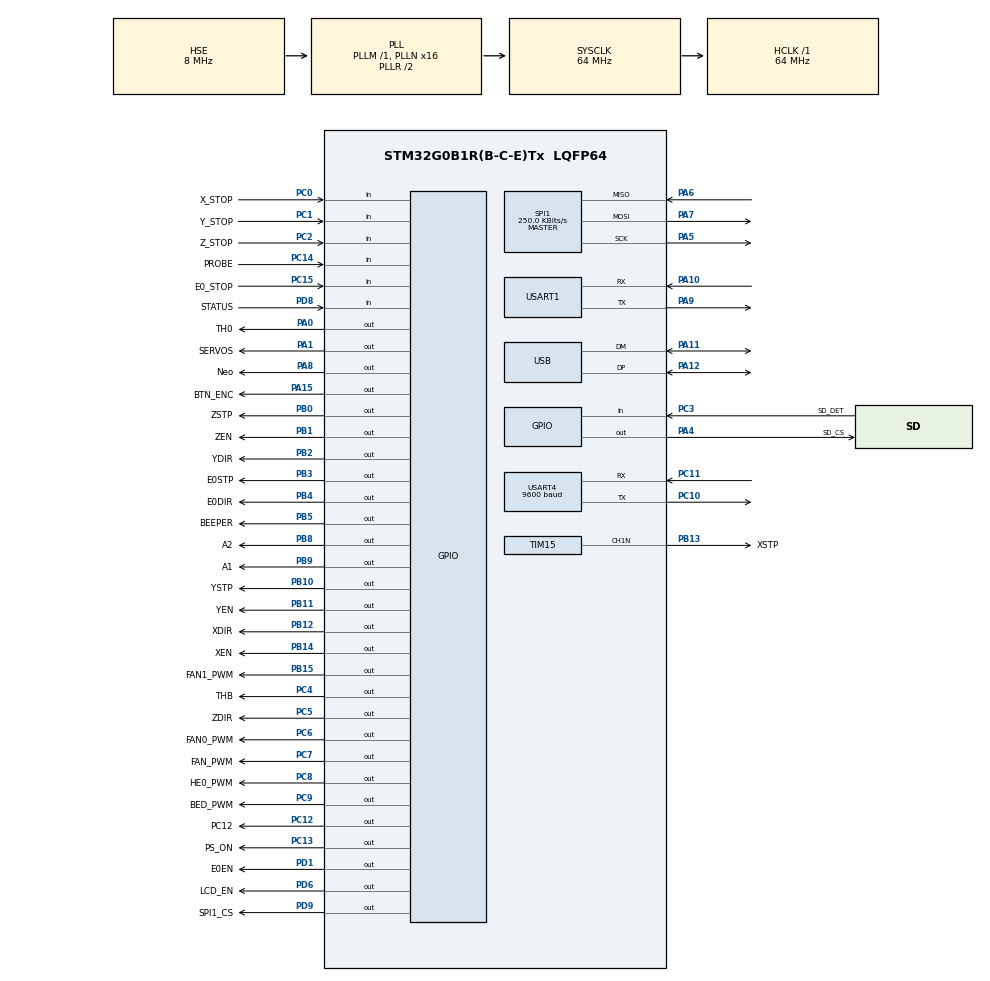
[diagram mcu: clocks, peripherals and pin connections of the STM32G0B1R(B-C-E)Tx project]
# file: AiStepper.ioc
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Dma.Request0=UCPD2_RX
Dma.Request1=UCPD2_TX
Dma.Request2=TIM15_CH1
Dma.TIM15_CH1.2.Direction=DMA_MEMORY_TO_PERIPH
Dma.TIM15_CH1.2.EventEnable=DISABLE
Dma.TIM15_CH1.2.Instance=DMA1_Channel1
Dma.TIM15_CH1.2.MemDataAlignment=DMA_MDATAALIGN_HALFWORD
Dma.TIM15_CH1.2.MemInc=DMA_MINC_ENABLE
Dma.TIM15_CH1.2.Mode=DMA_CIRCULAR
Dma.TIM15_CH1.2.PeriphDataAlignment=DMA_PDATAALIGN_HALFWORD
Dma.TIM15_CH1.2.PeriphInc=DMA_PINC_DISABLE
Dma.TIM15_CH1.2.Polarity=HAL_DMAMUX_REQ_GEN_RISING
Dma.TIM15_CH1.2.Priority=DMA_PRIORITY_LOW
Dma.TIM15_CH1.2.RequestNumber=1
Dma.TIM15_CH1.2.SignalID=NONE
Dma.TIM15_CH1.2.SyncEnable=DISABLE
Dma.TIM15_CH1.2.SyncPolarity=HAL_DMAMUX_SYNC_NO_EVENT
Dma.TIM15_CH1.2.SyncRequestNumber=1
Dma.TIM15_CH1.2.SyncSignalID=NONE
Dma.UCPD2_RX.0.Direction=DMA_PERIPH_TO_MEMORY
Dma.UCPD2_RX.0.EventEnable=DISABLE
Dma.UCPD2_RX.0.Instance=DMA1_Channel3
Dma.UCPD2_RX.0.MemDataAlignment=DMA_MDATAALIGN_BYTE
Dma.UCPD2_RX.0.MemInc=DMA_MINC_ENABLE
Dma.UCPD2_RX.0.Mode=DMA_NORMAL
Dma.UCPD2_RX.0.PeriphDataAlignment=DMA_PDATAALIGN_BYTE
Dma.UCPD2_RX.0.PeriphInc=DMA_PINC_DISABLE
Dma.UCPD2_RX.0.Polarity=HAL_DMAMUX_REQ_GEN_RISING
Dma.UCPD2_RX.0.Priority=DMA_PRIORITY_LOW
Dma.UCPD2_RX.0.RequestNumber=1
Dma.UCPD2_RX.0.SignalID=NONE
Dma.UCPD2_RX.0.SyncEnable=DISABLE
Dma.UCPD2_RX.0.SyncPolarity=HAL_DMAMUX_SYNC_NO_EVENT
Dma.UCPD2_RX.0.SyncRequestNumber=1
Dma.UCPD2_RX.0.SyncSignalID=NONE
Dma.UCPD2_TX.1.Direction=DMA_MEMORY_TO_PERIPH
Dma.UCPD2_TX.1.EventEnable=DISABLE
Dma.UCPD2_TX.1.Instance=DMA1_Channel4
Dma.UCPD2_TX.1.MemDataAlignment=DMA_MDATAALIGN_BYTE
Dma.UCPD2_TX.1.MemInc=DMA_MINC_ENABLE
Dma.UCPD2_TX.1.Mode=DMA_NORMAL
Dma.UCPD2_TX.1.PeriphDataAlignment=DMA_PDATAALIGN_BYTE
Dma.UCPD2_TX.1.PeriphInc=DMA_PINC_DISABLE
Dma.UCPD2_TX.1.Polarity=HAL_DMAMUX_REQ_GEN_RISING
Dma.UCPD2_TX.1.Priority=DMA_PRIORITY_LOW
Dma.UCPD2_TX.1.RequestNumber=1
Dma.UCPD2_TX.1.SignalID=NONE
Dma.UCPD2_TX.1.SyncEnable=DISABLE
Dma.UCPD2_TX.1.SyncPolarity=HAL_DMAMUX_SYNC_NO_EVENT
Dma.UCPD2_TX.1.SyncRequestNumber=1
Dma.UCPD2_TX.1.SyncSignalID=NONE
FATFS._FS_EXFAT=1
FATFS._MAX_SS=4096
FATFS._USE_LFN=1
Mcu.Family=STM32G0
Mcu.Name=STM32G0B1R(B-C-E)Tx
Mcu.Package=LQFP64
NVIC.DMA1_Ch4_7_DMA2_Ch1_5_DMAMUX1_OVR_IRQn=true\:0\:0\:false\:false\:true\:false\:true\:true
NVIC.DMA1_Channel1_IRQn=true\:0\:0\:false\:false\:true\:false\:true\:true
NVIC.DMA1_Channel2_3_IRQn=true\:0\:0\:false\:false\:true\:false\:true\:true
NVIC.TIM15_IRQn=true\:0\:0\:false\:false\:true\:true\:true\:true
NVIC.TIM7_LPTIM2_IRQn=true\:0\:0\:false\:false\:true\:true\:true\:true
NVIC.USART3_4_5_6_LPUART1_IRQn=true\:0\:0\:false\:false\:true\:true\:true\:true
NVIC.USB_UCPD1_2_IRQn=true\:0\:0\:false\:false\:true\:true\:true\:true
PA0.GPIO_Label=TH0
PA0.Signal=GPIO_Output
PA1.GPIO_Label=SERVOS
PA1.Signal=GPIO_Output
PA10.Mode=Asynchronous
PA10.Signal=USART1_RX
PA11\ [PA9].Mode=Device
PA11\ [PA9].Signal=USB_DM
PA12\ [PA10].Mode=Device
PA12\ [PA10].Signal=USB_DP
PA13.Mode=Serial_Wire
PA13.Signal=SYS_SWDIO
PA14-BOOT0.Mode=Serial_Wire
PA14-BOOT0.Signal=SYS_SWCLK
PA15.GPIO_Label=BTN_ENC
PA15.Signal=GPIO_Output
PA2.Signal=USART2_TX
PA3.Signal=USART2_RX
PA4.GPIO_Label=SD_CS
PA4.Signal=GPIO_Output
PA5.Mode=Full_Duplex_Master
PA5.Signal=SPI1_SCK
PA6.Mode=Full_Duplex_Master
PA6.Signal=SPI1_MISO
PA7.Mode=Full_Duplex_Master
PA7.Signal=SPI1_MOSI
PA8.GPIO_Label=Neo
PA8.Signal=GPIO_Output
PA9.Mode=Asynchronous
PA9.Signal=USART1_TX
PB0.GPIO_Label=ZSTP
PB0.Signal=GPIO_Output
PB1.GPIO_Label=ZEN
PB1.Signal=GPIO_Output
PB10.GPIO_Label=YSTP
PB10.Signal=GPIO_Output
PB11.GPIO_Label=YEN
PB11.Signal=GPIO_Output
PB12.GPIO_Label=XDIR
PB12.Signal=GPIO_Output
PB13.GPIO_Label=XSTP
PB13.Mode=PWM Generation1 CH1N
PB13.Signal=TIM15_CH1N
PB14.GPIO_Label=XEN
PB14.Signal=GPIO_Output
PB15.GPIO_Label=FAN1_PWM
PB15.Signal=GPIO_Output
PB2.GPIO_Label=YDIR
PB2.Signal=GPIO_Output
PB3.GPIO_Label=E0STP
PB3.Signal=GPIO_Output
PB4.GPIO_Label=E0DIR
PB4.Signal=GPIO_Output
PB5.GPIO_Label=BEEPER
PB5.Signal=GPIO_Output
PB6.Signal=I2C1_SCL
PB7.Signal=I2C1_SDA
PB8.GPIO_Label=A2
PB8.Signal=GPIO_Output
PB9.GPIO_Label=A1
PB9.Signal=GPIO_Output
PC0.GPIO_Label=X_STOP
PC0.Signal=GPIO_Input
PC1.GPIO_Label=Y_STOP
PC1.Signal=GPIO_Input
PC10.GPIO_ModeDefaultPP=GPIO_MODE_AF_PP
PC10.GPIO_PuPd=GPIO_NOPULL
PC10.GPIO_Speed=GPIO_SPEED_FREQ_LOW
PC10.Mode=Asynchronous
PC10.PinState=GPIO_PIN_RESET
PC10.Signal=USART4_TX
PC11.GPIO_ModeDefaultPP=GPIO_MODE_AF_PP
PC11.GPIO_PuPd=GPIO_NOPULL
PC11.GPIO_Speed=GPIO_SPEED_FREQ_LOW
PC11.Mode=Asynchronous
PC11.PinState=GPIO_PIN_RESET
PC11.Signal=USART4_RX
PC12.GPIO_Label=PC12
PC12.Signal=GPIO_Output
PC13.GPIO_Label=PS_ON
PC13.Signal=GPIO_Output
PC14-OSC32_IN\ (PC14).GPIO_Label=PROBE
PC14-OSC32_IN\ (PC14).Signal=GPIO_Input
PC15-OSC32_OUT\ (PC15).GPIO_Label=E0_STOP
PC15-OSC32_OUT\ (PC15).Signal=GPIO_Input
PC2.GPIO_Label=Z_STOP
PC2.Signal=GPIO_Input
PC3.GPIO_Label=SD_DET
PC3.Signal=GPIO_Input
PC4.GPIO_Label=THB
PC4.Signal=GPIO_Output
PC5.GPIO_Label=ZDIR
PC5.Signal=GPIO_Output
PC6.GPIO_Label=FAN0_PWM
PC6.Signal=GPIO_Output
PC7.GPIO_Label=FAN_PWM
PC7.Signal=GPIO_Output
PC8.GPIO_Label=HE0_PWM
PC8.Signal=GPIO_Output
PC9.GPIO_Label=BED_PWM
PC9.Signal=GPIO_Output
PD1.GPIO_Label=E0EN
PD1.Signal=GPIO_Output
PD6.GPIO_Label=LCD_EN
PD6.Signal=GPIO_Output
PD8.GPIO_Label=STATUS
PD8.Signal=GPIO_Input
PD9.GPIO_Label=SPI1_CS
PD9.Signal=GPIO_Output
PF0-OSC_IN\ (PF0).Mode=HSE-External-Oscillator
PF0-OSC_IN\ (PF0).Signal=RCC_OSC_IN
PF1-OSC_OUT\ (PF1).Mode=HSE-External-Oscillator
PF1-OSC_OUT\ (PF1).Signal=RCC_OSC_OUT
ProjectManager.HeapSize=0x200
ProjectManager.StackSize=0x400
ProjectManager.TargetToolchain=MDK-ARM V5.32
RCC.ADCFreq_Value=64000000
RCC.AHBFreq_Value=64000000
RCC.CortexFreq_Value=64000000
RCC.EXTERNAL_CLOCK_VALUE=48000
RCC.HCLKFreq_Value=64000000
RCC.HSE_VALUE=8000000
RCC.HSI48_VALUE=48000000
RCC.HSI_VALUE=16000000
RCC.LSE_VALUE=32768
RCC.PLLN=16
RCC.PLLSourceVirtual=RCC_PLLSOURCE_HSE
RCC.SYSCLKFreq_VALUE=64000000
RCC.SYSCLKSource=RCC_SYSCLKSOURCE_PLLCLK
RCC.USBFreq_Value=48000000
RCC.VCOOutputFreq_Value=128000000
SPI1.BaudRatePrescaler=SPI_BAUDRATEPRESCALER_256
SPI1.CalculateBaudRate=250.0 KBits/s
SPI1.Direction=SPI_DIRECTION_2LINES
SPI1.Mode=SPI_MODE_MASTER
SPI1.VirtualType=VM_MASTER
TIM15.Channel-PWM\ Generation1\ CH1N=TIM_CHANNEL_1
TIM15.Period=999
TIM15.Prescaler=639
TIM15.Pulse-PWM\ Generation1\ CH1N=2
TIM7.Period=9999
TIM7.Prescaler=639
USART1.VirtualMode-Asynchronous=VM_ASYNC
USART4.BaudRate=9600
USART4.SwapParam=ADVFEATURE_SWAP_DISABLE
USART4.VirtualMode-Asynchronous=VM_ASYNC
USB_DEVICE.CLASS_NAME_FS=CDC
USB_DEVICE.VirtualMode=Cdc
USB_DEVICE.VirtualModeFS=Cdc_FS
VP_FATFS_VS_Generic.Mode=User_defined
VP_SYS_VS_DBSignals.Mode=DisableDeadBatterySignals
VP_TIM7_VS_ClockSourceINT.Mode=Enable_Timer
VP_USB_DEVICE_VS_USB_DEVICE_CDC_FS.Mode=CDC_FS
board=custom

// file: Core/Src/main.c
/* USER CODE BEGIN Header */
/**
  ******************************************************************************
  * @file           : main.c
  * @brief          : Main program body
  ******************************************************************************
  * @attention
  *
  * Copyright (c) 2023 STMicroelectronics.
  * All rights reserved.
  *
  * This software is licensed under terms that can be found in the LICENSE file
  * in the root directory of this software component.
  * If no LICENSE file comes with this software, it is provided AS-IS.
  *
  ******************************************************************************
  */
/* USER CODE END Header */
#include "main.h"
#include "dma.h"
#include "app_fatfs.h"
#include "spi.h"
#include "tim.h"
#include "usart.h"
#include "usb_device.h"
#include "gpio.h"

/* USER CODE BEGIN Includes */

#include "app_fatfs.h"
#include "usbd_cdc_if.h"
#include "TMC2209.h"
//#include "stm32g0xx_hal_uart.h"

#include "string.h"
/* USER CODE END Includes */

/* USER CODE BEGIN PV */
#define BYTE_TO_BINARY_PATTERN "%c%c%c%c%c%c%c%c"
#define BYTE_TO_BINARY(byte)  \
  ((byte) & 0x80 ? '1' : '0'), \
  ((byte) & 0x40 ? '1' : '0'), \
  ((byte) & 0x20 ? '1' : '0'), \
  ((byte) & 0x10 ? '1' : '0'), \
  ((byte) & 0x08 ? '1' : '0'), \
  ((byte) & 0x04 ? '1' : '0'), \
  ((byte) & 0x02 ? '1' : '0'), \
  ((byte) & 0x01 ? '1' : '0')

/* Asse X
  #pturn = 200pulses turn
	#turns = 5
	#start freq 100
	#maxfreq 200
	#maxacc = 1
*/
#define X_TURN_PULSES 200 //must be an odd number
#define X_TURNS 5
#define X_TOTAL_PULSES (X_TURN_PULSES * X_TURNS)
#define X_HALF_PULSES (X_TOTAL_PULSES/2)
#define X_MIN_PULSE 5
#define X_MAX_PULSE 800
#define X_ACC_PULSE 5
#define X_TIM_CLK 100000

uint16_t aui32XBuffer[X_HALF_PULSES];
uint8_t ui8XState = 0;
/* USER CODE END PV */

void SystemClock_Config(void);
/* USER CODE BEGIN PFP */
void TIM_DMADelayPulseCplt(DMA_HandleTypeDef *hdma);
void TIM_DMADelayPulseNCplt(DMA_HandleTypeDef *hdma);
void TIM_DMAErrorCCxN(DMA_HandleTypeDef *hdma);

void TIM_CCxNChannelCmd(TIM_TypeDef *TIMx, uint32_t Channel, uint32_t ChannelNState);

HAL_StatusTypeDef HAL_TIM_PWM_Start_DMA2(TIM_HandleTypeDef *htim, uint32_t Channel, const uint32_t *pData,
                                        uint16_t Length);
HAL_StatusTypeDef HAL_TIMEx_PWMN_Start_DMA2(TIM_HandleTypeDef *htim, uint32_t Channel, const uint32_t *pData,
                                           uint16_t Length);
/* USER CODE END PFP */

/* USER CODE BEGIN 0 */

TMC2209TypeDef tmc2209;
ConfigurationTypeDef sConfig;
void tmc2209_readWriteArray(uint8_t channel, uint8_t *data, size_t writeLength, size_t readLength);
uint8_t tmc2209_CRC8(uint8_t *data, size_t length);

uint32_t ui32Read;
char buff[5] = "ciao";
uint32_t milli;
uint8_t ui8Tmp;
uint8_t ui8Buffer[10];

uint32_t ui32Tmp0;
uint32_t ui32Tmp1;
uint32_t ui32Tmp2;
uint32_t ui32BootTime;
uint8_t aui8StringBuffer[256];
uint8_t ui8StringLen;

volatile uint32_t ui32CounterPeriod = 0;
volatile uint32_t ui32CounterPulse = 0;
uint32_t ui32TimerWait;

/* USER CODE END 0 */

int main(void)
{
  /* USER CODE BEGIN 1 */
	uint32_t ui32Idx;
	uint16_t pulse = X_MIN_PULSE ;
	uint16_t CounterPeriod;
	uint8_t ui8Tmp1;
	uint8_t ui8Tmp2;
	uint8_t ui8Tmp3;
	uint8_t ui8Tmp4;

	//Fill bulses
	for( ui32Idx = 0; ui32Idx < (X_TOTAL_PULSES/2); ui32Idx++)
	{
		CounterPeriod = X_TIM_CLK / pulse;
		aui32XBuffer[ui32Idx] = CounterPeriod;
		pulse += X_ACC_PULSE;
		if (pulse > X_MAX_PULSE)
		{
			pulse = X_MAX_PULSE;
		}
	}

  /* USER CODE END 1 */

  /* MCU Configuration--------------------------------------------------------*/

  /* Reset of all peripherals, Initializes the Flash interface and the Systick. */
  HAL_Init();

  /* Configure the system clock */
  SystemClock_Config();

  /* Initialize all configured peripherals */
  MX_GPIO_Init();
  MX_DMA_Init();
  MX_USART1_UART_Init();
  MX_USB_Device_Init();
  MX_USART4_UART_Init();
  if (MX_FATFS_Init() != APP_OK) {
    Error_Handler();
  }
  MX_SPI1_Init();
  MX_TIM7_Init();
  MX_TIM15_Init();
  /* USER CODE BEGIN 2 */

	HAL_GPIO_WritePin(XEN_GPIO_Port,XEN_Pin, GPIO_PIN_RESET);
	HAL_Delay(10);
	HAL_GPIO_WritePin(XEN_GPIO_Port,XEN_Pin, GPIO_PIN_SET);
	HAL_Delay(10);
	HAL_GPIO_WritePin(XEN_GPIO_Port,XEN_Pin, GPIO_PIN_SET);
	HAL_Delay(10);
//	//HAL_GPIO_WritePin(XDIR_GPIO_Port,XDIR_Pin, GPIO_PIN_SET);
	tmc_fillCRC8Table(0x07, true, 1);
//
//	ui8Buffer[0] =  0x5;
//	ui8Buffer[1] =  0x0;
//	ui8Buffer[2] =  0x0;
// 	ui8Buffer[3] =  tmc2209_CRC8(ui8Buffer,3);
//	tmc2209_readWriteArray(0, ui8Buffer,4,8);
//
//	ui8Buffer[0] =  0x5;
//	ui8Buffer[1] =  0x1;
//	ui8Buffer[2] =  0x0;
// 	ui8Buffer[3] =  tmc2209_CRC8(ui8Buffer,3);
//	tmc2209_readWriteArray(0, ui8Buffer,4,8);

//	ui8Buffer[0] =  0x5;
//	ui8Buffer[1] =  0x2;
//	ui8Buffer[2] =  0x0;
// 	ui8Buffer[3] =  tmc2209_CRC8(ui8Buffer,3);
//	tmc2209_readWriteArray(0, ui8Buffer,4,8);

//	ui8Buffer[0] =  0x5;
//	ui8Buffer[1] =  0x3;
//	ui8Buffer[2] =  0x0;
// 	ui8Buffer[3] =  tmc2209_CRC8(ui8Buffer,3);
//	tmc2209_readWriteArray(0, ui8Buffer,4,8);

	HAL_GPIO_WritePin(XEN_GPIO_Port,XEN_Pin, GPIO_PIN_SET);

	tmc2209_init(&tmc2209, 0, 0, &sConfig, tmc2209_defaultRegisterResetState);
	tmc2209_periodicJob(&tmc2209,HAL_GetTick());
	tmc2209_reset(&tmc2209);

  /* USER CODE END 2 */

  /* Infinite loop */
  /* USER CODE BEGIN WHILE */
	ui32BootTime = HAL_GetTick();
  while (1)
  {
//		//CDC_Transmit_FS((uint8_t*)buff,5);
		milli = HAL_GetTick();
  	tmc2209_periodicJob(&tmc2209,milli);
		HAL_Delay(1);
		if (tmc2209.config->state == CONFIG_READY)
		{
			if (ui8XState == 0)
			{
				if ( ( HAL_GetTick() - ui32BootTime) > 4000)
				{
					ui8XState = 1;
				}
			}

			if (ui8XState == 1)
			{
				ui32Tmp0 = tmc2209_readInt(&tmc2209,TMC2209_GCONF);
				ui32Tmp0 = tmc2209_readInt(&tmc2209,0x6c);
				ui32Tmp0 = TMC2209_FIELD_READ(&tmc2209, TMC2209_CHOPCONF, TMC2209_MRES_MASK, TMC2209_MRES_SHIFT);
				ui32Tmp0 = 256 >> ui32Tmp0;

				ui32Tmp0 = 0;
				//Set the microstef by software

				//TMC2209_FIELD_UPDATE(&tmc2209, TMC2209_CHOPCONF, TMC2209_MRES_MASK, TMC2209_MRES_SHIFT, ui32Tmp0);

				ui32Tmp0 = 256 >> TMC2209_FIELD_READ(&tmc2209, TMC2209_CHOPCONF, TMC2209_MRES_MASK, TMC2209_MRES_SHIFT);

				ui32Tmp0 = tmc2209_readInt(&tmc2209,0x6c);
				ui32Tmp0 = tmc2209_readInt(&tmc2209,1);
				ui32Tmp0 = tmc2209_readInt(&tmc2209,2);
				ui32Tmp0 = tmc2209_readInt(&tmc2209,3);
				ui32Tmp0 = tmc2209_readInt(&tmc2209,4);
				ui32Tmp0 = tmc2209_readInt(&tmc2209,5);
				ui32Tmp0 = tmc2209_readInt(&tmc2209,6);
				ui32Tmp0 = tmc2209_readInt(&tmc2209,7);
				ui32Tmp0 = tmc2209_readInt(&tmc2209,8);
				ui32Tmp0 = tmc2209_readInt(&tmc2209,9);
				ui32Tmp0 = tmc2209_readInt(&tmc2209,10);
				ui32Tmp0 = tmc2209_readInt(&tmc2209,11);
				ui32Tmp0 = tmc2209_readInt(&tmc2209,12);
				ui32Tmp0 = tmc2209_readInt(&tmc2209,13);
				ui32Tmp0 = tmc2209_readInt(&tmc2209,14);
				ui32Tmp0 = tmc2209_readInt(&tmc2209,18);
				ui32Tmp0 = tmc2209_readInt(&tmc2209,16);
				ui32Tmp0 = tmc2209_readInt(&tmc2209,17);
				ui32Tmp0 = tmc2209_readInt(&tmc2209,18);
				ui32Tmp0 = tmc2209_readInt(&tmc2209,19);
				ui32Tmp0 = tmc2209_readInt(&tmc2209,20);

				ui8XState = 2;
				HAL_GPIO_WritePin(XEN_GPIO_Port, XEN_Pin, GPIO_PIN_RESET);
				HAL_GPIO_WritePin(XDIR_GPIO_Port, XDIR_Pin, GPIO_PIN_SET);
				HAL_Delay(100);

				if (HAL_TIMEx_PWMN_Start_IT(&htim15,TIM_CHANNEL_1) == HAL_OK)
				{
					//HAL_TIM_PWM_Start_DMA2(&htim15, TIM_CHANNEL_1, (uint32_t)*aui32XBuffer, X_TOTAL_PULSES);
				}
			}
			else if (ui8XState == 2)
			{
				//read current
				ui32Tmp0 = tmc2209_readInt(&tmc2209, TMC2209_SG_RESULT);
				ui32Tmp1 = tmc2209_readInt(&tmc2209, TMC2209_IOIN);
				ui8Tmp = ui32Tmp1;
				ui32Tmp1 = tmc2209_readInt(&tmc2209, TMC2209_DRVSTATUS);
				ui8Tmp1 = ui32Tmp1&0xFF;
				ui8Tmp2 = (ui32Tmp1>>8)&0xFF;
				ui8Tmp3 = (ui32Tmp1>>16)&0xFF;
				ui8Tmp4 = (ui32Tmp1>>24)&0xFF;
				ui32Tmp2 = tmc2209_readInt(&tmc2209, TMC2209_IFCNT);
				ui8StringLen = sprintf((char*)aui8StringBuffer,"%05.0d %05.0d [ "BYTE_TO_BINARY_PATTERN" ]-"BYTE_TO_BINARY_PATTERN"-"BYTE_TO_BINARY_PATTERN"-"BYTE_TO_BINARY_PATTERN"-"BYTE_TO_BINARY_PATTERN"\n",
						ui32Tmp0,ui32Tmp2,
						BYTE_TO_BINARY(ui8Tmp),
						BYTE_TO_BINARY(ui8Tmp4),
						BYTE_TO_BINARY(ui8Tmp3),
						BYTE_TO_BINARY(ui8Tmp2),
						BYTE_TO_BINARY(ui8Tmp1));
				//ui8StringLen = sprintf((char*)aui8StringBuffer,"%d-%d\n",ui32Tmp0,ui32Tmp1);

				CDC_Transmit_FS(aui8StringBuffer,ui8StringLen);
				HAL_Delay(20);

			}
			else if(ui8XState == 3)
			{
				HAL_GPIO_WritePin(XEN_GPIO_Port, XEN_Pin, GPIO_PIN_SET);
			}

			if (ui32CounterPulse == 0xFFFFFFFE)
			{
				ui32CounterPulse = 0xFFFFFFFF;
				ui32TimerWait = HAL_GetTick();
				//HAL_GPIO_WritePin(XEN_GPIO_Port, XEN_Pin, GPIO_PIN_SET);
			}
			else if (ui32CounterPulse == 0xFFFFFFFF)
			{
				if ( (HAL_GetTick() - ui32TimerWait) > 2000)
				{
					ui32CounterPulse = 0;
					HAL_GPIO_WritePin(XEN_GPIO_Port, XEN_Pin, GPIO_PIN_RESET);
				}
				if ( (HAL_GetTick() - ui32TimerWait) > 2000)
				{
					ui32CounterPulse = 0;
					if (HAL_TIMEx_PWMN_Start_IT(&htim15,TIM_CHANNEL_1) == HAL_OK)
					{
						//HAL_TIM_PWM_Start_DMA2(&htim15, TIM_CHANNEL_1, (uint32_t)*aui32XBuffer, X_TOTAL_PULSES);
					}
				}
			}

		}

    /* USER CODE END WHILE */

  }
}

void SystemClock_Config(void)
{
  RCC_OscInitTypeDef RCC_OscInitStruct = {0};
  RCC_ClkInitTypeDef RCC_ClkInitStruct = {0};

  /** Configure the main internal regulator output voltage
  */
  HAL_PWREx_ControlVoltageScaling(PWR_REGULATOR_VOLTAGE_SCALE1);

  /** Initializes the RCC Oscillators according to the specified parameters
  * in the RCC_OscInitTypeDef structure.
  */
  RCC_OscInitStruct.OscillatorType = RCC_OSCILLATORTYPE_HSE|RCC_OSCILLATORTYPE_HSI48;
  RCC_OscInitStruct.HSEState = RCC_HSE_ON;
  RCC_OscInitStruct.HSI48State = RCC_HSI48_ON;
  RCC_OscInitStruct.PLL.PLLState = RCC_PLL_ON;
  RCC_OscInitStruct.PLL.PLLSource = RCC_PLLSOURCE_HSE;
  RCC_OscInitStruct.PLL.PLLM = RCC_PLLM_DIV1;
  RCC_OscInitStruct.PLL.PLLN = 16;
  RCC_OscInitStruct.PLL.PLLP = RCC_PLLP_DIV2;
  RCC_OscInitStruct.PLL.PLLQ = RCC_PLLQ_DIV2;
  RCC_OscInitStruct.PLL.PLLR = RCC_PLLR_DIV2;
  if (HAL_RCC_OscConfig(&RCC_OscInitStruct) != HAL_OK)
  {
    Error_Handler();
  }

  /** Initializes the CPU, AHB and APB buses clocks
  */
  RCC_ClkInitStruct.ClockType = RCC_CLOCKTYPE_HCLK|RCC_CLOCKTYPE_SYSCLK
                              |RCC_CLOCKTYPE_PCLK1;
  RCC_ClkInitStruct.SYSCLKSource = RCC_SYSCLKSOURCE_PLLCLK;
  RCC_ClkInitStruct.AHBCLKDivider = RCC_SYSCLK_DIV1;
  RCC_ClkInitStruct.APB1CLKDivider = RCC_HCLK_DIV1;

  if (HAL_RCC_ClockConfig(&RCC_ClkInitStruct, FLASH_LATENCY_2) != HAL_OK)
  {
    Error_Handler();
  }
}

/* USER CODE BEGIN 4 */

uint8_t aui8gDataOut[16];
uint8_t aui8gDataIn[16];
volatile uint8 ui8gIdxTx;
volatile uint8 ui8gIdx;
volatile uint8 ui8gIdxRx = 0;
volatile uint8_t ui8GlobalFlag = 0;
volatile uint16_t ui8GlobalRx = 0;

void USART_CharReception_Callback(void)
{
	aui8gDataIn[ui8gIdxRx++] = LL_USART_ReceiveData8(USART4);
	ui8gIdxRx%=16;
}

void Error_Callback(void)
{
	if (LL_USART_IsActiveFlag_ORE(USART4))
	{
	  LL_USART_ClearFlag_ORE(USART4);
	}
}
void tmc2209_readWriteArray(uint8_t channel, uint8_t *data, size_t writeLength, size_t readLength)
{
	uint32_t timeout;
	timeout = HAL_GetTick();
	HAL_Delay(2);

	ui8gIdx = 0;
	ui8gIdxRx = 0;
  /* Clear Overrun flag, in case characters have already been sent to USART */
	if (readLength>0)
	{
		LL_USART_ReceiveData8(USART4);
		LL_USART_EnableIT_ERROR(USART4);
		LL_USART_EnableIT_RXNE(USART4);
	}

	while(ui8gIdx < writeLength)
	{
		LL_USART_TransmitData8(USART4, data[ui8gIdx++]);
		while (!LL_USART_IsActiveFlag_TXE(USART4));
	}
	if(readLength>0)
	{
		//while (!LL_USART_IsActiveFlag_TC(USART4)) ui8gIdx++;
		while( ui8gIdxRx < (writeLength+readLength) )
		{
			if ((HAL_GetTick() -timeout) > 50 )
			{
				memset(data,0,readLength);
				LL_USART_DisableIT_ERROR(USART4);
				LL_USART_DisableIT_RXNE(USART4);
				LL_USART_ClearFlag_ORE(USART4);
			}
		}
		ui8gIdx++;
		memcpy(data,&aui8gDataIn[writeLength],readLength);
		LL_USART_DisableIT_ERROR(USART4);
		LL_USART_DisableIT_RXNE(USART4);
	  LL_USART_ClearFlag_ORE(USART4);
	}
}

void HAL_TIM_PeriodElapsedCallback(TIM_HandleTypeDef *htim)
{
  /* Prevent unused argument(s) compilation warning */
  UNUSED(htim);

	if (htim == &htim7)
	{
    Timer100usCallback();
	}
	if (htim == &htim15)
	{
		ui32CounterPeriod++;
	}
}

void HAL_TIM_PWM_PulseFinishedCallback(TIM_HandleTypeDef *htim)
{
	static uint16_t ui16Value = 0;
	if (htim == &htim15)
	{
		if (ui32CounterPulse < X_HALF_PULSES)
		{
			htim15.Instance->ARR = aui32XBuffer[ui32CounterPulse++];
		}
		else if (ui32CounterPulse < X_TOTAL_PULSES)
		{
			ui16Value = (ui32CounterPulse++) - X_HALF_PULSES ;
			htim15.Instance->ARR = aui32XBuffer[X_HALF_PULSES - ui16Value - 1];
		}
	//	else if (ui32CounterPulse < DMA_BUFFER_SIZE*9)
	//		htim15.Instance->ARR = ui32DmaBuffer[DMA_BUFFER_SIZE-1];
	//	else if (ui32CounterPulse < DMA_BUFFER_SIZE*10)
	//		htim15.Instance->ARR = ui32DmaBuffer[DMA_BUFFER_SIZE-(ui32CounterPulse%DMA_BUFFER_SIZE)];
		else
		{
			HAL_GPIO_TogglePin(XDIR_GPIO_Port, XDIR_Pin);
			ui32CounterPulse = 0xFFFFFFFE;
			ui32CounterPeriod++;
			HAL_TIMEx_PWMN_Stop_IT(&htim15,TIM_CHANNEL_1);
			//HAL_GPIO_WritePin(XEN_GPIO_Port, XEN_Pin, GPIO_PIN_SET);
		}
	}
}

/* USER CODE END 4 */

void Error_Handler(void)
{
  __disable_irq();
  while (1)
  {
  }
}
